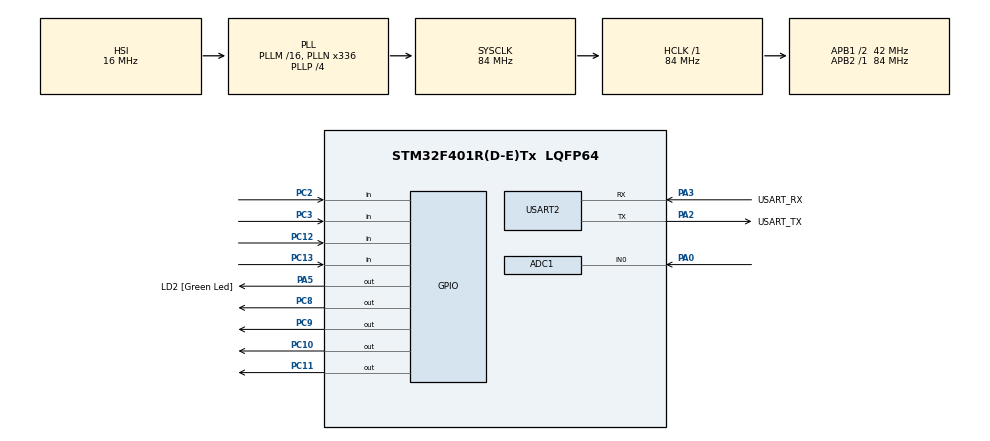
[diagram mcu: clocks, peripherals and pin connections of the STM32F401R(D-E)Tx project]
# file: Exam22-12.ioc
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ADC1.Channel-0\#ChannelRegularConversion=ADC_CHANNEL_0
ADC1.DMAContinuousRequests=ENABLE
ADC1.ExternalTrigConv=ADC_EXTERNALTRIGCONV_T3_TRGO
ADC1.NbrOfConversionFlag=1
ADC1.Rank-0\#ChannelRegularConversion=1
ADC1.SamplingTime-0\#ChannelRegularConversion=ADC_SAMPLETIME_480CYCLES
ADC1.master=1
Dma.ADC1.0.Direction=DMA_PERIPH_TO_MEMORY
Dma.ADC1.0.FIFOMode=DMA_FIFOMODE_DISABLE
Dma.ADC1.0.Instance=DMA2_Stream0
Dma.ADC1.0.MemDataAlignment=DMA_MDATAALIGN_HALFWORD
Dma.ADC1.0.MemInc=DMA_MINC_ENABLE
Dma.ADC1.0.Mode=DMA_CIRCULAR
Dma.ADC1.0.PeriphDataAlignment=DMA_PDATAALIGN_HALFWORD
Dma.ADC1.0.PeriphInc=DMA_PINC_DISABLE
Dma.ADC1.0.Priority=DMA_PRIORITY_LOW
Dma.Request0=ADC1
Mcu.Family=STM32F4
Mcu.Name=STM32F401R(D-E)Tx
Mcu.Package=LQFP64
NVIC.ADC_IRQn=true\:0\:0\:false\:false\:true\:true\:true
NVIC.DMA2_Stream0_IRQn=true\:0\:0\:false\:false\:true\:false\:true
NVIC.PriorityGroup=NVIC_PRIORITYGROUP_0
NVIC.TIM1_TRG_COM_TIM11_IRQn=true\:0\:0\:false\:false\:true\:true\:true
NVIC.TIM3_IRQn=true\:0\:0\:false\:false\:true\:true\:true
PA0-WKUP.Signal=ADCx_IN0
PA13.GPIO_Label=TMS
PA13.Mode=Serial_Wire
PA13.Signal=SYS_JTMS-SWDIO
PA14.GPIO_Label=TCK
PA14.Mode=Serial_Wire
PA14.Signal=SYS_JTCK-SWCLK
PA2.GPIO_Label=USART_TX
PA2.GPIO_Mode=GPIO_MODE_AF_PP
PA2.GPIO_PuPd=GPIO_NOPULL
PA2.GPIO_Speed=GPIO_SPEED_FREQ_LOW
PA2.Mode=Asynchronous
PA2.Signal=USART2_TX
PA3.GPIO_Label=USART_RX
PA3.GPIO_Mode=GPIO_MODE_AF_PP
PA3.GPIO_PuPd=GPIO_NOPULL
PA3.GPIO_Speed=GPIO_SPEED_FREQ_LOW
PA3.Mode=Asynchronous
PA3.Signal=USART2_RX
PA5.GPIO_Label=LD2 [Green Led]
PA5.GPIO_Mode=GPIO_MODE_OUTPUT_PP
PA5.GPIO_PuPd=GPIO_NOPULL
PA5.GPIO_Speed=GPIO_SPEED_FREQ_LOW
PA5.Signal=GPIO_Output
PB3.GPIO_Label=SWO
PB3.Signal=SYS_JTDO-SWO
PC10.Signal=GPIO_Output
PC11.Signal=GPIO_Output
PC12.Signal=GPIO_Input
PC13-ANTI_TAMP.Signal=GPIO_Input
PC14-OSC32_IN.Mode=LSE-External-Oscillator
PC14-OSC32_IN.Signal=RCC_OSC32_IN
PC15-OSC32_OUT.Mode=LSE-External-Oscillator
PC15-OSC32_OUT.Signal=RCC_OSC32_OUT
PC2.Signal=GPIO_Input
PC3.Signal=GPIO_Input
PC8.Signal=GPIO_Output
PC9.Signal=GPIO_Output
PH0\ -\ OSC_IN.Mode=HSE-External-Clock-Source
PH0\ -\ OSC_IN.Signal=RCC_OSC_IN
PH1\ -\ OSC_OUT.Mode=HSE-External-Clock-Source
PH1\ -\ OSC_OUT.Signal=RCC_OSC_OUT
ProjectManager.HeapSize=0x200
ProjectManager.StackSize=0x400
ProjectManager.TargetToolchain=STM32CubeIDE
RCC.48MHZClocksFreq_Value=48000000
RCC.AHBFreq_Value=84000000
RCC.APB1CLKDivider=RCC_HCLK_DIV2
RCC.APB1Freq_Value=42000000
RCC.APB1TimFreq_Value=84000000
RCC.APB2Freq_Value=84000000
RCC.APB2TimFreq_Value=84000000
RCC.CortexFreq_Value=84000000
RCC.HCLKFreq_Value=84000000
RCC.HSE_VALUE=8000000
RCC.HSI_VALUE=16000000
RCC.PLLN=336
RCC.PLLP=RCC_PLLP_DIV4
RCC.PLLQ=7
RCC.SYSCLKFreq_VALUE=84000000
RCC.SYSCLKSource=RCC_SYSCLKSOURCE_PLLCLK
RCC.VCOOutputFreq_Value=336000000
SH.ADCx_IN0.0=ADC1_IN0,IN0
TIM11.Period=1000-1
TIM11.Prescaler=48-1
TIM3.Period=2000-1
TIM3.Prescaler=42-1
TIM3.TIM_MasterOutputTrigger=TIM_TRGO_UPDATE
USART2.VirtualMode=VM_ASYNC
VP_TIM11_VS_ClockSourceINT.Mode=Enable_Timer
VP_TIM3_VS_ClockSourceINT.Mode=Internal
board=NUCLEO-F401RE

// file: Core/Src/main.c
/* USER CODE BEGIN Header */
/**
 ******************************************************************************
 * @file           : main.c
 * @brief          : Main program body
 ******************************************************************************
 * @attention
 *
 * <h2><center>&copy; Copyright (c) 2021 STMicroelectronics.
 * All rights reserved.</center></h2>
 *
 * This software component is licensed by ST under BSD 3-Clause license,
 * the "License"; You may not use this file except in compliance with the
 * License. You may obtain a copy of the License at:
 *                        opensource.org/licenses/BSD-3-Clause
 *
 ******************************************************************************
 */
/* USER CODE END Header */
#include "main.h"

/* USER CODE BEGIN Includes */
#include "Keyboard.h"
/* USER CODE END Includes */

/* USER CODE BEGIN PD */
#define NSAMPLES 1000
#define bufflen NSAMPLES*2
/* USER CODE END PD */

ADC_HandleTypeDef hadc1;
DMA_HandleTypeDef hdma_adc1;

TIM_HandleTypeDef htim3;
TIM_HandleTypeDef htim11;

UART_HandleTypeDef huart2;

/* USER CODE BEGIN PV */
uint16_t data[bufflen];
/* USER CODE END PV */

void SystemClock_Config(void);
static void MX_GPIO_Init(void);
static void MX_USART2_UART_Init(void);
static void MX_DMA_Init(void);
static void MX_ADC1_Init(void);
static void MX_TIM3_Init(void);
static void MX_TIM11_Init(void);
/* USER CODE BEGIN PFP */
void calculateAvgAndSend(int half);
/* USER CODE END PFP */

int main(void) {

	/* MCU Configuration--------------------------------------------------------*/

	/* Reset of all peripherals, Initializes the Flash interface and the Systick. */
	HAL_Init();

	/* Configure the system clock */
	SystemClock_Config();

	/* USER CODE BEGIN SysInit */
	MX_DMA_Init();
	/* USER CODE END SysInit */

	/* Initialize all configured peripherals */
	MX_GPIO_Init();
	MX_USART2_UART_Init();
	MX_DMA_Init();
	MX_ADC1_Init();
	MX_TIM3_Init();
	MX_TIM11_Init();
	/* USER CODE BEGIN 2 */
	HAL_TIM_Base_Start(&htim3);
	HAL_TIM_Base_Start_IT(&htim11);
	HAL_ADC_Start_DMA(&hadc1, (uint32_t*) data, bufflen);

	/* USER CODE END 2 */

	/* Infinite loop */
	/* USER CODE BEGIN WHILE */
	init_Keyboard();
	while (1) {
		scanKeyboard();
		/* USER CODE END WHILE */

	}
}

void SystemClock_Config(void) {
	RCC_OscInitTypeDef RCC_OscInitStruct = { 0 };
	RCC_ClkInitTypeDef RCC_ClkInitStruct = { 0 };

	/** Configure the main internal regulator output voltage
	 */
	__HAL_RCC_PWR_CLK_ENABLE();
	__HAL_PWR_VOLTAGESCALING_CONFIG(PWR_REGULATOR_VOLTAGE_SCALE2);
	/** Initializes the RCC Oscillators according to the specified parameters
	 * in the RCC_OscInitTypeDef structure.
	 */
	RCC_OscInitStruct.OscillatorType = RCC_OSCILLATORTYPE_HSI;
	RCC_OscInitStruct.HSIState = RCC_HSI_ON;
	RCC_OscInitStruct.HSICalibrationValue = RCC_HSICALIBRATION_DEFAULT;
	RCC_OscInitStruct.PLL.PLLState = RCC_PLL_ON;
	RCC_OscInitStruct.PLL.PLLSource = RCC_PLLSOURCE_HSI;
	RCC_OscInitStruct.PLL.PLLM = 16;
	RCC_OscInitStruct.PLL.PLLN = 336;
	RCC_OscInitStruct.PLL.PLLP = RCC_PLLP_DIV4;
	RCC_OscInitStruct.PLL.PLLQ = 7;
	if (HAL_RCC_OscConfig(&RCC_OscInitStruct) != HAL_OK) {
		Error_Handler();
	}
	/** Initializes the CPU, AHB and APB buses clocks
	 */
	RCC_ClkInitStruct.ClockType = RCC_CLOCKTYPE_HCLK | RCC_CLOCKTYPE_SYSCLK
			| RCC_CLOCKTYPE_PCLK1 | RCC_CLOCKTYPE_PCLK2;
	RCC_ClkInitStruct.SYSCLKSource = RCC_SYSCLKSOURCE_PLLCLK;
	RCC_ClkInitStruct.AHBCLKDivider = RCC_SYSCLK_DIV1;
	RCC_ClkInitStruct.APB1CLKDivider = RCC_HCLK_DIV2;
	RCC_ClkInitStruct.APB2CLKDivider = RCC_HCLK_DIV1;

	if (HAL_RCC_ClockConfig(&RCC_ClkInitStruct, FLASH_LATENCY_2) != HAL_OK) {
		Error_Handler();
	}
}

static void MX_ADC1_Init(void) {

	ADC_ChannelConfTypeDef sConfig = { 0 };

	/** Configure the global features of the ADC (Clock, Resolution, Data Alignment and number of conversion)
	 */
	hadc1.Instance = ADC1;
	hadc1.Init.ClockPrescaler = ADC_CLOCK_SYNC_PCLK_DIV4;
	hadc1.Init.Resolution = ADC_RESOLUTION_12B;
	hadc1.Init.ScanConvMode = DISABLE;
	hadc1.Init.ContinuousConvMode = DISABLE;
	hadc1.Init.DiscontinuousConvMode = DISABLE;
	hadc1.Init.ExternalTrigConvEdge = ADC_EXTERNALTRIGCONVEDGE_RISING;
	hadc1.Init.ExternalTrigConv = ADC_EXTERNALTRIGCONV_T3_TRGO;
	hadc1.Init.DataAlign = ADC_DATAALIGN_RIGHT;
	hadc1.Init.NbrOfConversion = 1;
	hadc1.Init.DMAContinuousRequests = ENABLE;
	hadc1.Init.EOCSelection = ADC_EOC_SINGLE_CONV;
	if (HAL_ADC_Init(&hadc1) != HAL_OK) {
		Error_Handler();
	}
	/** Configure for the selected ADC regular channel its corresponding rank in the sequencer and its sample time.
	 */
	sConfig.Channel = ADC_CHANNEL_0;
	sConfig.Rank = 1;
	sConfig.SamplingTime = ADC_SAMPLETIME_480CYCLES;
	if (HAL_ADC_ConfigChannel(&hadc1, &sConfig) != HAL_OK) {
		Error_Handler();
	}

}

static void MX_TIM3_Init(void) {

	TIM_ClockConfigTypeDef sClockSourceConfig = { 0 };
	TIM_MasterConfigTypeDef sMasterConfig = { 0 };

	htim3.Instance = TIM3;
	htim3.Init.Prescaler = 42 - 1;
	htim3.Init.CounterMode = TIM_COUNTERMODE_UP;
	htim3.Init.Period = 2000 - 1;
	htim3.Init.ClockDivision = TIM_CLOCKDIVISION_DIV1;
	htim3.Init.AutoReloadPreload = TIM_AUTORELOAD_PRELOAD_DISABLE;
	if (HAL_TIM_Base_Init(&htim3) != HAL_OK) {
		Error_Handler();
	}
	sClockSourceConfig.ClockSource = TIM_CLOCKSOURCE_INTERNAL;
	if (HAL_TIM_ConfigClockSource(&htim3, &sClockSourceConfig) != HAL_OK) {
		Error_Handler();
	}
	sMasterConfig.MasterOutputTrigger = TIM_TRGO_UPDATE;
	sMasterConfig.MasterSlaveMode = TIM_MASTERSLAVEMODE_DISABLE;
	if (HAL_TIMEx_MasterConfigSynchronization(&htim3, &sMasterConfig)
			!= HAL_OK) {
		Error_Handler();
	}

}

static void MX_TIM11_Init(void) {

	htim11.Instance = TIM11;
	htim11.Init.Prescaler = 48 - 1;
	htim11.Init.CounterMode = TIM_COUNTERMODE_UP;
	htim11.Init.Period = 1000 - 1;
	htim11.Init.ClockDivision = TIM_CLOCKDIVISION_DIV1;
	htim11.Init.AutoReloadPreload = TIM_AUTORELOAD_PRELOAD_DISABLE;
	if (HAL_TIM_Base_Init(&htim11) != HAL_OK) {
		Error_Handler();
	}

}

static void MX_USART2_UART_Init(void) {

	huart2.Instance = USART2;
	huart2.Init.BaudRate = 115200;
	huart2.Init.WordLength = UART_WORDLENGTH_8B;
	huart2.Init.StopBits = UART_STOPBITS_1;
	huart2.Init.Parity = UART_PARITY_NONE;
	huart2.Init.Mode = UART_MODE_TX_RX;
	huart2.Init.HwFlowCtl = UART_HWCONTROL_NONE;
	huart2.Init.OverSampling = UART_OVERSAMPLING_16;
	if (HAL_UART_Init(&huart2) != HAL_OK) {
		Error_Handler();
	}

}

static void MX_DMA_Init(void) {

	/* DMA controller clock enable */
	__HAL_RCC_DMA2_CLK_ENABLE();

	/* DMA interrupt init */
	/* DMA2_Stream0_IRQn interrupt configuration */
	HAL_NVIC_SetPriority(DMA2_Stream0_IRQn, 0, 0);
	HAL_NVIC_EnableIRQ(DMA2_Stream0_IRQn);

}

static void MX_GPIO_Init(void) {
	GPIO_InitTypeDef GPIO_InitStruct = { 0 };

	/* GPIO Ports Clock Enable */
	__HAL_RCC_GPIOC_CLK_ENABLE();
	__HAL_RCC_GPIOH_CLK_ENABLE();
	__HAL_RCC_GPIOA_CLK_ENABLE();
	__HAL_RCC_GPIOB_CLK_ENABLE();

	/*Configure GPIO pin Output Level */
	HAL_GPIO_WritePin(LD2_GPIO_Port, LD2_Pin, GPIO_PIN_RESET);

	/*Configure GPIO pin Output Level */
	HAL_GPIO_WritePin(GPIOC,
			GPIO_PIN_8 | GPIO_PIN_9 | GPIO_PIN_10 | GPIO_PIN_11,
			GPIO_PIN_RESET);

	/*Configure GPIO pins : PC13 PC2 PC3 PC12 */
	GPIO_InitStruct.Pin = GPIO_PIN_13 | GPIO_PIN_2 | GPIO_PIN_3 | GPIO_PIN_12;
	GPIO_InitStruct.Mode = GPIO_MODE_INPUT;
	GPIO_InitStruct.Pull = GPIO_NOPULL;
	HAL_GPIO_Init(GPIOC, &GPIO_InitStruct);

	/*Configure GPIO pin : LD2_Pin */
	GPIO_InitStruct.Pin = LD2_Pin;
	GPIO_InitStruct.Mode = GPIO_MODE_OUTPUT_PP;
	GPIO_InitStruct.Pull = GPIO_NOPULL;
	GPIO_InitStruct.Speed = GPIO_SPEED_FREQ_LOW;
	HAL_GPIO_Init(LD2_GPIO_Port, &GPIO_InitStruct);

	/*Configure GPIO pins : PC8 PC9 PC10 PC11 */
	GPIO_InitStruct.Pin = GPIO_PIN_8 | GPIO_PIN_9 | GPIO_PIN_10 | GPIO_PIN_11;
	GPIO_InitStruct.Mode = GPIO_MODE_OUTPUT_PP;
	GPIO_InitStruct.Pull = GPIO_NOPULL;
	GPIO_InitStruct.Speed = GPIO_SPEED_FREQ_LOW;
	HAL_GPIO_Init(GPIOC, &GPIO_InitStruct);
}

/* USER CODE BEGIN 4 */
void scanKeyboard() {
	// scans all the keyboard
	for (uint8_t x = 0; x < 4; x++) {
		for (uint8_t y = 0; y < 4; y++) {
			if (pressed[x][y] == 3) {
				pressed[x][y]++;
				if (keyboard_mapping[x][y] == '0'
						|| keyboard_mapping[x][y] == '3'
						|| keyboard_mapping[x][y] == 'C'
						|| keyboard_mapping[x][y] == 'F') {
					HAL_TIM_Base_Stop(&htim3);
				}
			}
		}
	}
}

void HAL_ADC_ConvHalfCpltCallback(ADC_HandleTypeDef *hadc) {
	calculateAvgAndSend(0);
}

void HAL_ADC_ConvCpltCallback(ADC_HandleTypeDef *hadc) {
	calculateAvgAndSend(1);
}

void HAL_TIM_PeriodElapsedCallback(TIM_HandleTypeDef *htim) {
	if (htim == &htim11) {
		keyboardCallback();
	}
}

void calculateAvgAndSend(int half) {
	double average = 0.0;
	for (int i = 0; i < 1000; i++) {
		average += (double) data[i + half * NSAMPLES] / (double) NSAMPLES;
	}

	average *= (3.3 / 4096.0);

	double resistance = average * 100000.0 / (3.3 - average);
	double lux = 10 * pow(100000.0 / resistance, 1.25);

	char string[128];
	int length = sprintf(string, "%s => resistance: %.3f - lux: %.3f\r\n",
			(half ? "Full" : "Half"), resistance, lux);

	HAL_UART_Transmit(&huart2, string, length, 1000);
}
/* USER CODE END 4 */

void Error_Handler(void) {
	__disable_irq();
	while (1) {
	}
}

/************************ (C) COPYRIGHT STMicroelectronics *****END OF FILE****/
